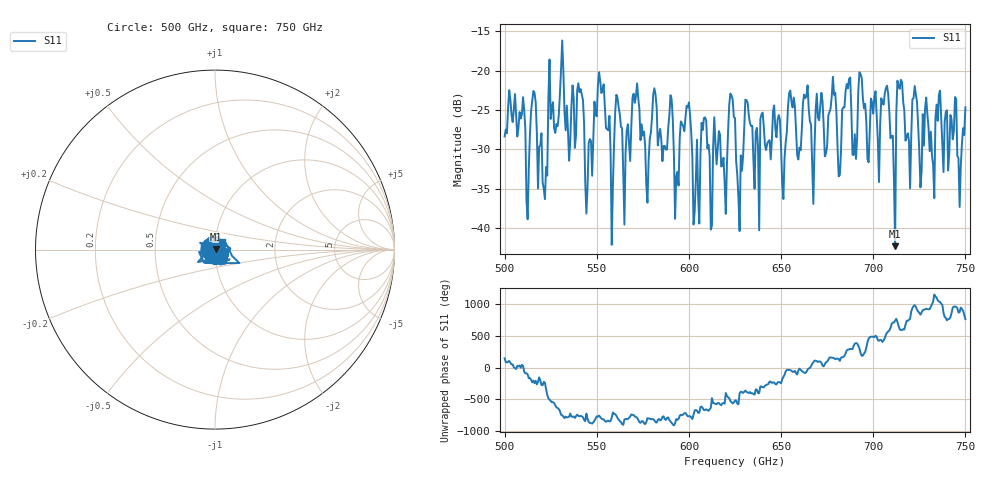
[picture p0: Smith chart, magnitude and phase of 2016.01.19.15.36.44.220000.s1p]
!Created with skrf (http://scikit-rf.org).
# GHz S RI R 50.0
!freq ReS11 ImS11
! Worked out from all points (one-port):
!   401 points, 500 GHz to 750 GHz, reference 50 ohm
!   lowest |S11| = -42.3 dB at 711.9 GHz (marker M1), VSWR 1.02, Z = 50.7 + j0.303 ohm
!   |S11| at or under -10 dB: start of sweep to end of sweep
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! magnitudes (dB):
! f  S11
! 500 GHz  -28.3
! 509.4 GHz  -25.5
! 512.5 GHz  -38.8
! 515.6 GHz  -22.6
! 521.9 GHz  -36.3
! 531.2 GHz  -16.2
! 534.4 GHz  -27.6
! 541.2 GHz  -22.3
! 545 GHz  -34.7
! 551.9 GHz  -21.3
! 558.1 GHz  -42.1
! 562.5 GHz  -25.5
! 577.5 GHz  -36.7
! 590 GHz  -23.1
! 593.8 GHz  -32.8
! 599.4 GHz  -24.7
! 603.8 GHz  -33.8
! 608.1 GHz  -26.0
! 611.2 GHz  -30.9
! 625 GHz  -26.0
! 651.2 GHz  -36.3
! 656.2 GHz  -24.7
! 666.9 GHz  -32.1
! 687.5 GHz  -20.9
! 711.9 GHz  -42.3
! 714.4 GHz  -22.3
! 718.8 GHz  -27.9
! 750 GHz  -24.7
